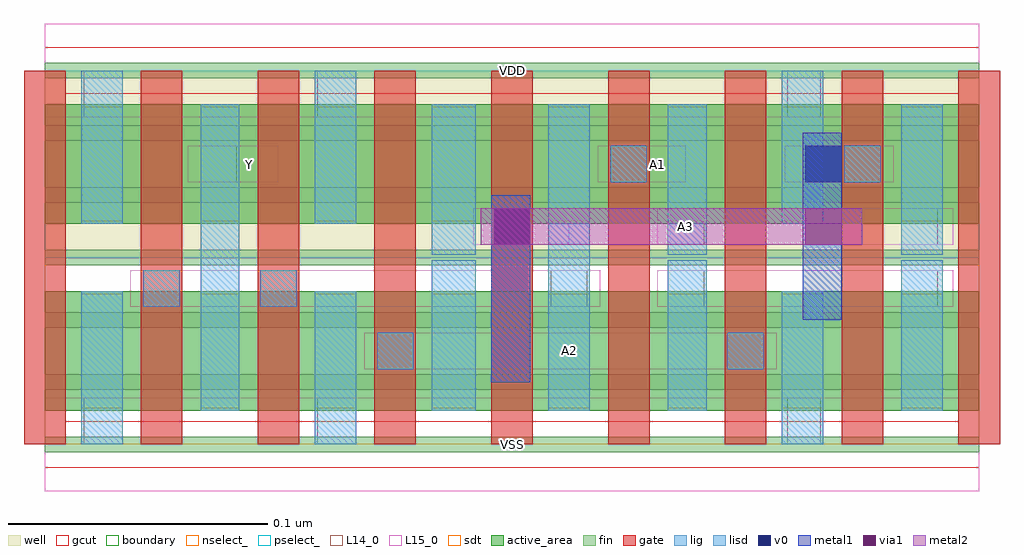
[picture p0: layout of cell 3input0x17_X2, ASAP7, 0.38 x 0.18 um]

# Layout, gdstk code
import gdstk
lib = gdstk.Library(unit=1e-6, precision=1e-09)
def R(c, l, rs):  # rectangles x0, y0, x1, y1
    for r in rs: c.add(gdstk.rectangle(r[:2], r[2:], *l))
def A(c, l, x, y, w, h, nx, ny, dx, dy):  # array of equal rectangles
    R(c, l, [(x+i*dx, y+j*dy, x+i*dx+w, y+j*dy+h) for i in range(nx) for j in range(ny)])
def P(c, l, *ps):  # polygons
    for p in ps: c.add(gdstk.Polygon(p, *l))
well = (1, 0)
fin = (2, 0)
gate = (7, 0)
gcut = (10, 0)
active_area = (11, 0)
nselect_ = (12, 0)
pselect_ = (13, 0)
L14_0 = (14, 0)
L15_0 = (15, 0)
lig = (16, 0)
lisd = (17, 0)
v0 = (18, 0)
metal1 = (19, 0)
metal2 = (20, 0)
via1 = (21, 0)
sdt = (88, 0)
boundary = (100, 0)

c_3input0x17_x2 = lib.new_cell('3input0x17_X2')
R(c_3input0x17_x2, well, [(0,0.072,0.36,0.144)])
A(c_3input0x17_x2, fin, 0, -0.003, 0.36, 0.006, 1, 7, 0, 0.024)
A(c_3input0x17_x2, gate, -0.008, 0, 0.016, 0.144, 9, 1, 0.045, 0)
P(c_3input0x17_x2, gcut, [(0,-0.009),(0,0),(-0.008,0),(-0.008,0.135),(0.008,0.135),(0.008,0.009),(0.352,0.009),(0.352,0.135),(-0.008,0.135),(-0.008,0.144),(0,0.144),(0,0.153),(0.36,0.153),(0.36,0.144),(0.368,0.144),(0.368,0),(0.36,0),(0.36,-0.009)])
R(c_3input0x17_x2, active_area, [(0,0.013,0.36,0.059), (0,0.085,0.36,0.131)])
R(c_3input0x17_x2, nselect_, [(0,0,0.36,0.072)])
R(c_3input0x17_x2, pselect_, [(0,0.072,0.36,0.144)])
R(c_3input0x17_x2, L14_0, [(0.015,0,0.03,0.018), (0.105,0,0.12,0.018), (0.286,0,0.299,0.018), (0.128,0.029,0.142,0.043), (0.263,0.029,0.277,0.043), (0.038,0.053,0.052,0.067), (0.083,0.053,0.097,0.067), (0.195,0.053,0.209,0.067), (0.24,0.053,0.254,0.067), (0.33,0.053,0.344,0.067), (0.173,0.077,0.187,0.091), (0.24,0.077,0.254,0.091), (0.33,0.077,0.344,0.091), (0.06,0.101,0.074,0.115), (0.218,0.101,0.232,0.115), (0.308,0.101,0.322,0.115), (0.015,0.126,0.03,0.144), (0.105,0.126,0.12,0.144), (0.286,0.126,0.299,0.144)])
R(c_3input0x17_x2, L15_0, [(0,-0.018,0.36,0.018), (0.123,0.029,0.282,0.043), (0.033,0.053,0.214,0.067), (0.236,0.053,0.35,0.067), (0.165,0.077,0.202,0.091), (0.236,0.077,0.35,0.091), (0.055,0.101,0.09,0.115), (0.213,0.101,0.247,0.115), (0.285,0.101,0.327,0.115), (0,0.126,0.36,0.162)])
R(c_3input0x17_x2, lig, [(0.128,0.029,0.142,0.043), (0.263,0.029,0.277,0.043), (0.038,0.053,0.052,0.067), (0.083,0.053,0.097,0.067), (0.173,0.077,0.187,0.091), (0.218,0.101,0.232,0.115), (0.308,0.101,0.322,0.115)])
R(c_3input0x17_x2, lisd, [(0.014,0,0.03,0.059), (0.104,0,0.12,0.059), (0.284,0,0.3,0.059), (0.06,0.013,0.075,0.131), (0.149,0.013,0.166,0.071), (0.194,0.013,0.21,0.131), (0.24,0.013,0.255,0.071), (0.33,0.013,0.346,0.071), (0.149,0.073,0.166,0.131), (0.24,0.073,0.255,0.131), (0.33,0.073,0.346,0.131), (0.014,0.085,0.03,0.144), (0.104,0.085,0.12,0.144), (0.284,0.085,0.3,0.144)])
R(c_3input0x17_x2, v0, [(0.173,0.077,0.187,0.091), (0.293,0.101,0.307,0.115)])
R(c_3input0x17_x2, metal1, [(0.172,0.024,0.187,0.096), (0.292,0.048,0.307,0.12)])
R(c_3input0x17_x2, metal2, [(0.168,0.077,0.315,0.091)])
R(c_3input0x17_x2, via1, [(0.173,0.077,0.187,0.091), (0.293,0.077,0.307,0.091)])
A(c_3input0x17_x2, sdt, 0.014, 0.014, 0.016, 0.044, 4, 2, 0.09, 0.072)
R(c_3input0x17_x2, sdt, [(0.06,0.014,0.075,0.058), (0.149,0.014,0.166,0.058), (0.24,0.014,0.255,0.058), (0.33,0.014,0.346,0.058), (0.06,0.086,0.075,0.13), (0.149,0.086,0.166,0.13), (0.24,0.086,0.255,0.13), (0.33,0.086,0.346,0.13)])
R(c_3input0x17_x2, boundary, [(0,0,0.36,0.144)])
c_3input0x17_x2.add(gdstk.Label('A1', (0.236,0.108), layer=15, texttype=251))
c_3input0x17_x2.add(gdstk.Label('VSS', (0.18,0), layer=15, texttype=251))
c_3input0x17_x2.add(gdstk.Label('VDD', (0.18,0.144), layer=15, texttype=251))
c_3input0x17_x2.add(gdstk.Label('VSS', (0.18,0), layer=15, texttype=251))
c_3input0x17_x2.add(gdstk.Label('VDD', (0.18,0.144), layer=15, texttype=251))
c_3input0x17_x2.add(gdstk.Label('Y', (0.079,0.108), layer=15, texttype=251))
c_3input0x17_x2.add(gdstk.Label('VSS', (0.18,0), layer=15, texttype=251))
c_3input0x17_x2.add(gdstk.Label('VDD', (0.18,0.144), layer=15, texttype=251))
c_3input0x17_x2.add(gdstk.Label('A2', (0.202,0.036), layer=15, texttype=251))
c_3input0x17_x2.add(gdstk.Label('VSS', (0.18,0), layer=15, texttype=251))
c_3input0x17_x2.add(gdstk.Label('VDD', (0.18,0.144), layer=15, texttype=251))
c_3input0x17_x2.add(gdstk.Label('VSS', (0.18,0), layer=3, texttype=251))
c_3input0x17_x2.add(gdstk.Label('VSS', (0.18,0), layer=3, texttype=251))
c_3input0x17_x2.add(gdstk.Label('VSS', (0.18,0), layer=3, texttype=251))
c_3input0x17_x2.add(gdstk.Label('VSS', (0.18,0), layer=3, texttype=251))
c_3input0x17_x2.add(gdstk.Label('VDD', (0.18,0.144), layer=1, texttype=251))
c_3input0x17_x2.add(gdstk.Label('VDD', (0.18,0.144), layer=1, texttype=251))
c_3input0x17_x2.add(gdstk.Label('VDD', (0.18,0.144), layer=1, texttype=251))
c_3input0x17_x2.add(gdstk.Label('VDD', (0.18,0.144), layer=1, texttype=251))
c_3input0x17_x2.add(gdstk.Label('A3', (0.247,0.084), layer=20, texttype=251))

lib.write_gds('3input0x17_X2.gds')
